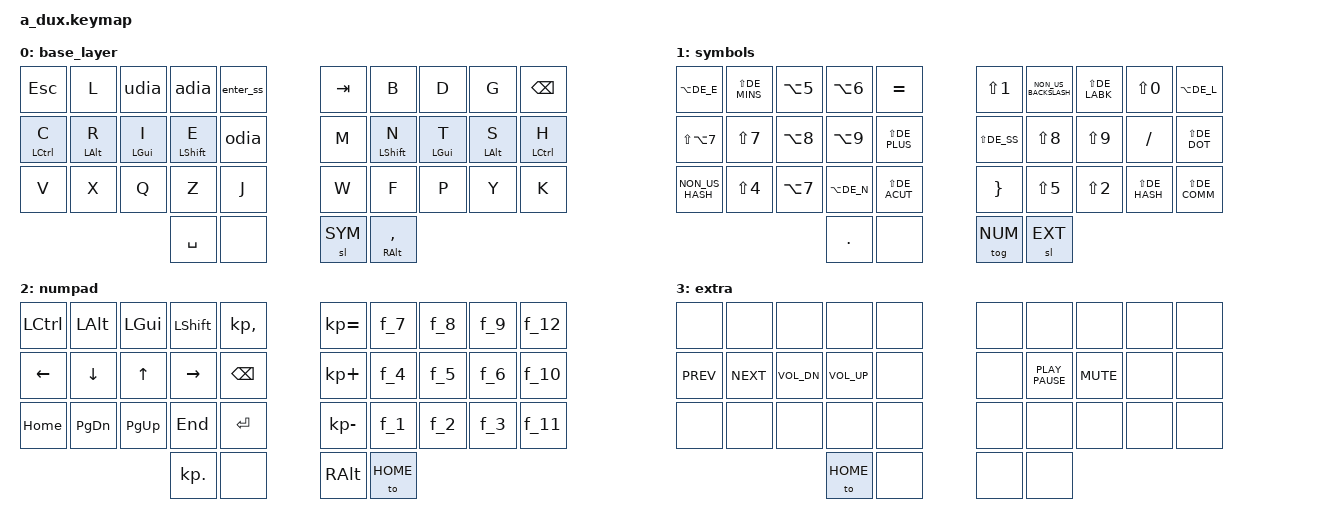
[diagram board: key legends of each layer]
/*
 * Copyright (c) 2021 The ZMK Contributors
 *
 * SPDX-License-Identifier: MIT
 */

#include <behaviors.dtsi>
#include <dt-bindings/zmk/keys.h>


// clang-format off

/*
 * ┌───┬───┬───┬───┬───┬───┬───┬───┬───┬───┬───┬───┬───┬─────┐
 * │ ^ │ 1 │ 2 │ 3 │ 4 │ 5 │ 6 │ 7 │ 8 │ 9 │ 0 │ ß │ ´ │     │
 * ├───┴─┬─┴─┬─┴─┬─┴─┬─┴─┬─┴─┬─┴─┬─┴─┬─┴─┬─┴─┬─┴─┬─┴─┬─┴─┬───┤
 * │     │ Q │ W │ E │ R │ T │ Z │ U │ I │ O │ P │ Ü │ + │   │
 * ├─────┴┬──┴┬──┴┬──┴┬──┴┬──┴┬──┴┬──┴┬──┴┬──┴┬──┴┬──┴┬──┴┐  │
 * │      │ A │ S │ D │ F │ G │ H │ J │ K │ L │ Ö │ Ä │ # │  │
 * ├────┬─┴─┬─┴─┬─┴─┬─┴─┬─┴─┬─┴─┬─┴─┬─┴─┬─┴─┬─┴─┬─┴─┬─┴───┴──┤
 * │    │ < │ Y │ X │ C │ V │ B │ N │ M │ , │ . │ - │        │
 * ├────┴┬──┴─┬─┴───┼───┴───┴───┴───┴───┴───┼───┴─┬─┴──┬─────┤
 * │     │    │     │                       │     │    │     │
 * └─────┴────┴─────┴───────────────────────┴─────┴────┴─────┘
 */
// Row 1
#define DE_CIRC GRAVE // ^ (dead)
#define DE_SS   MINUS // ß
#define DE_ACUT EQUAL // ´ (dead)

// Row 2
#define DE_Q    Q            // Q
#define DE_W    W            // W
#define DE_E    E            // E
#define DE_R    R            // R
#define DE_T    T            // T
#define DE_Z    Y            // Z
#define DE_U    U            // U
#define DE_I    I            // I
#define DE_O    O            // O
#define DE_P    P            // P
#define DE_UDIA LEFT_BRACKET // Ü
#define DE_PLUS RIGHT_BRACE  // +

// Row 3
#define DE_A    A            // A
#define DE_S    S            // S
#define DE_D    D            // D
#define DE_F    F            // F
#define DE_G    G            // G
#define DE_H    H            // H
#define DE_J    J            // J
#define DE_K    K            // K
#define DE_L    L            // L
#define DE_ODIA SEMICOLON    // Ö
#define DE_ADIA SINGLE_QUOTE // Ä
#define DE_HASH NON_US_HASH  // #

// Row 4
#define DE_LABK NON_US_BACKSLASH // <
#define DE_Y    Z                // Y
#define DE_X    X                // X
#define DE_C    C                // C
#define DE_V    V                // V
#define DE_B    B                // B
#define DE_N    N                // N
#define DE_M    M                // M
#define DE_COMM COMMA            // ,
#define DE_DOT  PERIOD           // .
#define DE_MINS SLASH            // -

/* Shifted symbols
 * ┌───┬───┬───┬───┬───┬───┬───┬───┬───┬───┬───┬───┬───┬─────┐
 * │ ° │ ! │ " │ § │ $ │ % │ & │ / │ ( │ ) │ = │ ? │ ` │     │
 * ├───┴─┬─┴─┬─┴─┬─┴─┬─┴─┬─┴─┬─┴─┬─┴─┬─┴─┬─┴─┬─┴─┬─┴─┬─┴─┬───┤
 * │     │   │   │   │   │   │   │   │   │   │   │   │ * │   │
 * ├─────┴┬──┴┬──┴┬──┴┬──┴┬──┴┬──┴┬──┴┬──┴┬──┴┬──┴┬──┴┬──┴┐  │
 * │      │   │   │   │   │   │   │   │   │   │   │   │ ' │  │
 * ├────┬─┴─┬─┴─┬─┴─┬─┴─┬─┴─┬─┴─┬─┴─┬─┴─┬─┴─┬─┴─┬─┴─┬─┴───┴──┤
 * │    │ > │   │   │   │   │   │   │   │ ; │ : │ _ │        │
 * ├────┴┬──┴─┬─┴───┼───┴───┴───┴───┴───┴───┼───┴─┬─┴──┬─────┤
 * │     │    │     │                       │     │    │     │
 * └─────┴────┴─────┴───────────────────────┴─────┴────┴─────┘
 */
// Row 1
#define DE_DEG  LS(DE_CIRC) // °
#define DE_EXLM LS(NUMBER_1)    // !
#define DE_DQUO LS(NUMBER_2)    // "
#define DE_SECT LS(NUMBER_3)    // §
#define DE_DLR  LS(NUMBER_4)    // $
#define DE_PERC LS(NUMBER_5)    // %
#define DE_AMPR LS(NUMBER_6)    // &
#define DE_SLSH LS(NUMBER_7)    // /
#define DE_LPRN LS(NUMBER_8)    // (
#define DE_RPRN LS(NUMBER_9)    // )
#define DE_EQL  LS(NUMBER_0)    // =
#define DE_QUES LS(DE_SS)   // ?
#define DE_GRV  LS(DE_ACUT) // ` (dead)
// Row 2
#define DE_ASTR LS(DE_PLUS) // *
// Row 3
#define DE_QUOT LS(DE_HASH) // '
// Row 4
#define DE_RABK LS(DE_LABK) // >
#define DE_SCLN LS(DE_COMM) // ;
#define DE_COLN LS(DE_DOT)  // :
#define DE_UNDS LS(DE_MINS) // _

/* Alted symbols
 * ┌───┬───┬───┬───┬───┬───┬───┬───┬───┬───┬───┬───┬───┬─────┐
 * │ „ │ ¡ │ “ │ ¶ │ ¢ │ [ │ ] │ | │ { │ } │ ≠ │ ¿ │   │     │
 * ├───┴─┬─┴─┬─┴─┬─┴─┬─┴─┬─┴─┬─┴─┬─┴─┬─┴─┬─┴─┬─┴─┬─┴─┬─┴─┬───┤
 * │     │ « │ ∑ │ € │ ® │ † │ Ω │ ¨ │ ⁄ │ Ø │ π │ • │ ± │   │
 * ├─────┴┬──┴┬──┴┬──┴┬──┴┬──┴┬──┴┬──┴┬──┴┬──┴┬──┴┬──┴┬──┴┐  │
 * │      │ Å │ ‚ │ ∂ │ ƒ │ © │ ª │ º │ ∆ │ @ │ Œ │ Æ │ ‘ │  │
 * ├────┬─┴─┬─┴─┬─┴─┬─┴─┬─┴─┬─┴─┬─┴─┬─┴─┬─┴─┬─┴─┬─┴─┬─┴───┴──┤
 * │    │ ≤ │ ¥ │ ≈ │ Ç │ √ │ ∫ │ ~ │ µ │ ∞ │ … │ – │        │
 * ├────┴┬──┴─┬─┴───┼───┴───┴───┴───┴───┴───┼───┴─┬─┴──┬─────┤
 * │     │    │     │                       │     │    │     │
 * └─────┴────┴─────┴───────────────────────┴─────┴────┴─────┘
 */
// Row 1
#define DE_DLQU LA(DE_CIRC) // „
#define DE_IEXL LA(NUMBER_1)    // ¡
#define DE_LDQU LA(NUMBER_2)    // “
#define DE_PILC LA(NUMBER_3)    // ¶
#define DE_CENT LA(NUMBER_4)    // ¢
#define DE_LBRC LA(NUMBER_5)    // [
#define DE_RBRC LA(NUMBER_6)    // ]
#define DE_PIPE LA(NUMBER_7)    // |
#define DE_LCBR LA(NUMBER_8)    // {
#define DE_RCBR LA(NUMBER_9)    // }
#define DE_NEQL LA(NUMBER_0)    // ≠
#define DE_IQUE LA(DE_SS)   // ¿
// Row 2
#define DE_LDAQ LA(DE_Q)    // «
#define DE_NARS LA(DE_W)    // ∑
#define DE_EURO LA(DE_E)    // €
#define DE_REGD LA(DE_R)    // ®
#define DE_DAGG LA(DE_T)    // †
#define DE_OMEG LA(DE_Z)    // Ω
#define DE_DIAE LA(DE_U)    // ¨ (dead)
#define DE_FRSL LA(DE_I)    // ⁄
#define DE_OSTR LA(DE_O)    // Ø
#define DE_PI   LA(DE_P)    // π
#define DE_BULT LA(DE_UDIA) // •
#define DE_PLMN LA(DE_PLUS) // ±
// Row 3
#define DE_ARNG LA(DE_A)    // Å
#define DE_SLQU LA(DE_S)    // ‚
#define DE_PDIF LA(DE_D)    // ∂
#define DE_FHK  LA(DE_F)    // ƒ
#define DE_COPY LA(DE_G)    // ©
#define DE_FORD LA(DE_H)    // ª
#define DE_MORD LA(DE_J)    // º
#define DE_INCR LA(DE_K)    // ∆
#define DE_AT   LA(DE_L)    // @
#define DE_OE   LA(DE_ODIA) // Œ
#define DE_AE   LA(DE_ADIA) // Æ
#define DE_LSQU LA(DE_HASH) // ‘
// Row 4
#define DE_LTEQ LA(DE_LABK) // ≤
#define DE_YEN  LA(DE_Y)    // ¥
#define DE_AEQL LA(DE_X)    // ≈
#define DE_CCCE LA(DE_C)    // Ç
#define DE_SQRT LA(DE_V)    // √
#define DE_INTG LA(DE_B)    // ∫
#define DE_TILD LA(DE_N)    // ~ (dead)
#define DE_MICR LA(DE_M)    // µ
#define DE_INFN LA(DE_COMM) // ∞
#define DE_ELLP LA(DE_DOT)  // …
#define DE_NDSH LA(DE_MINS) // –

/* Shift+Alted symbols
 * ┌───┬───┬───┬───┬───┬───┬───┬───┬───┬───┬───┬───┬───┬─────┐
 * │   │ ¬ │ ” │   │ £ │ ﬁ │   │ \ │ ˜ │ · │ ¯ │ ˙ │ ˚ │     │
 * ├───┴─┬─┴─┬─┴─┬─┴─┬─┴─┬─┴─┬─┴─┬─┴─┬─┴─┬─┴─┬─┴─┬─┴─┬─┴─┬───┤
 * │     │ » │   │ ‰ │ ¸ │ ˝ │ ˇ │ Á │ Û │   │ ∏ │   │  │   │
 * ├─────┴┬──┴┬──┴┬──┴┬──┴┬──┴┬──┴┬──┴┬──┴┬──┴┬──┴┬──┴┬──┴┐  │
 * │      │   │ Í │ ™ │ Ï │ Ì │ Ó │ ı │   │ ﬂ │   │   │   │  │
 * ├────┬─┴─┬─┴─┬─┴─┬─┴─┬─┴─┬─┴─┬─┴─┬─┴─┬─┴─┬─┴─┬─┴─┬─┴───┴──┤
 * │    │ ≥ │ ‡ │ Ù │   │ ◊ │ ‹ │ › │ ˘ │ ˛ │ ÷ │ — │        │
 * ├────┴┬──┴─┬─┴───┼───┴───┴───┴───┴───┴───┼───┴─┬─┴──┬─────┤
 * │     │    │     │                       │     │    │     │
 * └─────┴────┴─────┴───────────────────────┴─────┴────┴─────┘
 */
// Row 1
#define DE_NOT  LS(LA(NUMBER_1))    // ¬
#define DE_RDQU LS(LA(NUMBER_2))    // ”
#define DE_PND  LS(LA(NUMBER_4))    // £
#define DE_FI   LS(LA(NUMBER_5))    // ﬁ
#define DE_BSLS LS(LA(NUMBER_7))    // (backslash)
#define DE_STIL LS(LA(NUMBER_8))    // ˜
#define DE_MDDT LS(LA(NUMBER_9))    // ·
#define DE_MACR LS(LA(NUMBER_0))    // ¯
#define DE_DOTA LS(LA(DE_SS))   // ˙
#define DE_RNGA LS(LA(DE_ACUT)) // ˚
// Row 2
#define DE_RDAQ LS(LA(DE_Q))    // »
#define DE_PERM LS(LA(DE_E))    // ‰
#define DE_CEDL LS(LA(DE_R))    // ¸
#define DE_DACU LS(LA(DE_T))    // ˝
#define DE_CARN LS(LA(DE_Z))    // ˇ
#define DE_AACU LS(LA(DE_U))    // Á
#define DE_UCIR LS(LA(DE_I))    // Û
#define DE_NARP LS(LA(DE_P))    // ∏
#define DE_APPL LS(LA(DE_PLUS)) //  (Apple logo)
// Row 3
#define DE_IACU LS(LA(DE_S))    // Í
#define DE_TM   LS(LA(DE_D))    // ™
#define DE_IDIA LS(LA(DE_F))    // Ï
#define DE_IGRV LS(LA(DE_G))    // Ì
#define DE_OACU LS(LA(DE_H))    // Ó
#define DE_DLSI LS(LA(DE_J))    // ı
#define DE_FL   LS(LA(DE_L))    // ﬂ
// Row 4
#define DE_GTEQ LS(LA(DE_LABK)) // ≥
#define DE_DDAG LS(LA(DE_Y))    // ‡
#define DE_UGRV LS(LA(DE_X))    // Ù
#define DE_LOZN LS(LA(DE_V))    // ◊
#define DE_LSAQ LS(LA(DE_B))    // ‹
#define DE_RSAQ LS(LA(DE_N))    // ›
#define DE_BREV LS(LA(DE_M))    // ˘
#define DE_OGON LS(LA(DE_COMM)) // ˛
#define DE_DIV  LS(LA(DE_DOT))  // ÷

#define DEFAULT 0
#define SYM    1
#define NUM    3
#define EXT    5

#define NONE 0
/ {

    behaviors {
        hm: homerow_mods {
            compatible = "zmk,behavior-hold-tap";
            label = "HOMEROW_MODS";
            #binding-cells = <2>;
            tapping-term-ms = <150>;
            quick_tap_ms = <0>;
            flavor = "tap-preferred";
            bindings = <&kp>, <&kp>;
        };
        adia: adia {
            compatible = "zmk,behavior-mod-morph";
            label = "adia";
            #binding-cells = <0>;
            bindings = <&kp A>, <&kp DE_ADIA>;
            mods = <(MOD_RALT)>;
        };
        odia: odia {
            compatible = "zmk,behavior-mod-morph";
            label = "odia";
            #binding-cells = <0>;
            bindings = <&kp O>, <&kp DE_ODIA>;
            mods = <(MOD_RALT)>;
        };
        udia: udia {
            compatible = "zmk,behavior-mod-morph";
            label = "udia";
            #binding-cells = <0>;
            bindings = <&kp U>, <&kp DE_UDIA>;
            mods = <(MOD_RALT)>;
        };
		enter_ss: enter_ss {
            compatible = "zmk,behavior-mod-morph";
            label = "enter_ss";
            #binding-cells = <0>;
            bindings = <&kp ENTER>, <&kp DE_SS>;
            mods = <(MOD_RALT)>;
		};
		f_1: f1 {
            compatible = "zmk,behavior-mod-morph";
            label = "f_1";
            #binding-cells = <0>;
            bindings = <&kp KP_N1>, <&kp F1>;
            mods = <(MOD_RALT)>;
		};
		f_2: f2 {
            compatible = "zmk,behavior-mod-morph";
            label = "f_2";
            #binding-cells = <0>;
            bindings = <&kp KP_N2>, <&kp F2>;
            mods = <(MOD_RALT)>;
		};
		f_3: f3 {
            compatible = "zmk,behavior-mod-morph";
            label = "f_3";
            #binding-cells = <0>;
            bindings = <&kp KP_N3>, <&kp F3>;
            mods = <(MOD_RALT)>;
		};
		f_4: f4 {
            compatible = "zmk,behavior-mod-morph";
            label = "f_4";
            #binding-cells = <0>;
            bindings = <&kp KP_N4>, <&kp F4>;
            mods = <(MOD_RALT)>;
		};
		f_5: f5 {
            compatible = "zmk,behavior-mod-morph";
            label = "f_5";
            #binding-cells = <0>;
            bindings = <&kp KP_N5>, <&kp F5>;
            mods = <(MOD_RALT)>;
		};
		f_6: f6 {
            compatible = "zmk,behavior-mod-morph";
            label = "f_6";
            #binding-cells = <0>;
            bindings = <&kp KP_N6>, <&kp F6>;
            mods = <(MOD_RALT)>;
		};
		f_7: f7 {
            compatible = "zmk,behavior-mod-morph";
            label = "f_7";
            #binding-cells = <0>;
            bindings = <&kp KP_N7>, <&kp F7>;
            mods = <(MOD_RALT)>;
		};
		f_8: f8 {
            compatible = "zmk,behavior-mod-morph";
            label = "f_8";
            #binding-cells = <0>;
            bindings = <&kp KP_N8>, <&kp F8>;
            mods = <(MOD_RALT)>;
		};
		f_9: f9 {
            compatible = "zmk,behavior-mod-morph";
            label = "f_9";
            #binding-cells = <0>;
            bindings = <&kp KP_N9>, <&kp F9>;
            mods = <(MOD_RALT)>;
		};
		f_10: f10 {
            compatible = "zmk,behavior-mod-morph";
            label = "f_10";
            #binding-cells = <0>;
            bindings = <&kp KP_N0>, <&kp F10>;
            mods = <(MOD_RALT)>;
		};
		f_11: f11 {
            compatible = "zmk,behavior-mod-morph";
            label = "f_11";
            #binding-cells = <0>;
            bindings = <&kp KP_MULTIPLY>, <&kp F11>;
            mods = <(MOD_RALT)>;
		};
		f_12: f12 {
            compatible = "zmk,behavior-mod-morph";
            label = "f_12";
            #binding-cells = <0>;
            bindings = <&kp KP_SLASH>, <&kp F12>;
            mods = <(MOD_RALT)>;
		};
    };

	keymap {
		compatible = "zmk,keymap";

		base_layer {
			bindings = <
				&kp ESCAPE     &kp DE_L      &udia         &adia           &enter_ss   &kp TAB    &kp DE_B        &kp DE_D      &kp DE_G      &kp BACKSPACE
				&hm LCTRL DE_C &hm LALT DE_R &hm LGUI DE_I &hm LSHIFT DE_E &odia       &kp DE_M   &hm LSHIFT DE_N &hm LGUI DE_T &hm LALT DE_S &hm LCTRL DE_H
				&kp DE_V       &kp DE_X      &kp DE_Q      &kp DE_Y        &kp DE_J    &kp DE_W   &kp DE_F        &kp DE_P      &kp DE_Z      &kp DE_K
				                                           &kp SPACE       &none       &sl SYM    &hm RALT DE_COMM
			>;
		};

		symbols {
			bindings =< 
				&kp DE_EURO &kp DE_UNDS &kp DE_LBRC &kp DE_RBRC &kp DE_ACUT &kp DE_EXLM &kp DE_LABK &kp DE_RABK &kp DE_EQL  &kp DE_AT
				&kp DE_BSLS &kp DE_SLSH &kp DE_LCBR &kp DE_RCBR &kp DE_ASTR &kp DE_QUES &kp DE_LPRN &kp DE_RPRN &kp DE_MINS &kp DE_COLN
				&kp DE_HASH &kp DE_DLR  &kp DE_PIPE &kp DE_TILD &kp DE_GRV  &kp DE_PLUS &kp DE_PERC &kp DE_DQUO &kp DE_QUOT &kp DE_SCLN
				                                    &kp DE_DOT  &none       &tog NUM    &sl EXT
			>;
		};

		numpad {
			bindings =< 
				&kp LCTRL &kp LALT      &kp LGUI    &kp LSHIFT  &kp KP_COMMA  &kp KP_EQUAL &f_7     &f_8 &f_9 &f_12
				&kp LEFT  &kp DOWN      &kp UP      &kp RIGHT   &kp BACKSPACE &kp KP_PLUS  &f_4     &f_5 &f_6 &f_10
				&kp HOME  &kp PAGE_DOWN &kp PAGE_UP &kp END     &kp ENTER     &kp KP_MINUS &f_1     &f_2 &f_3 &f_11
			                                          &kp KP_DOT  &none         &kp RALT     &to HOME
			>;
		};

		extra {
			bindings =< 
				&none      &none      &none        &none        &none &none &none            &none      &none &none
				&kp K_PREV &kp K_NEXT &kp K_VOL_DN &kp K_VOL_UP &none &none &kp K_PLAY_PAUSE &kp K_MUTE &none &none
				&none      &none      &none        &none        &none &none &none            &none      &none &none
				                                   &to HOME     &none &none &none
			>;
		};

	};
};
